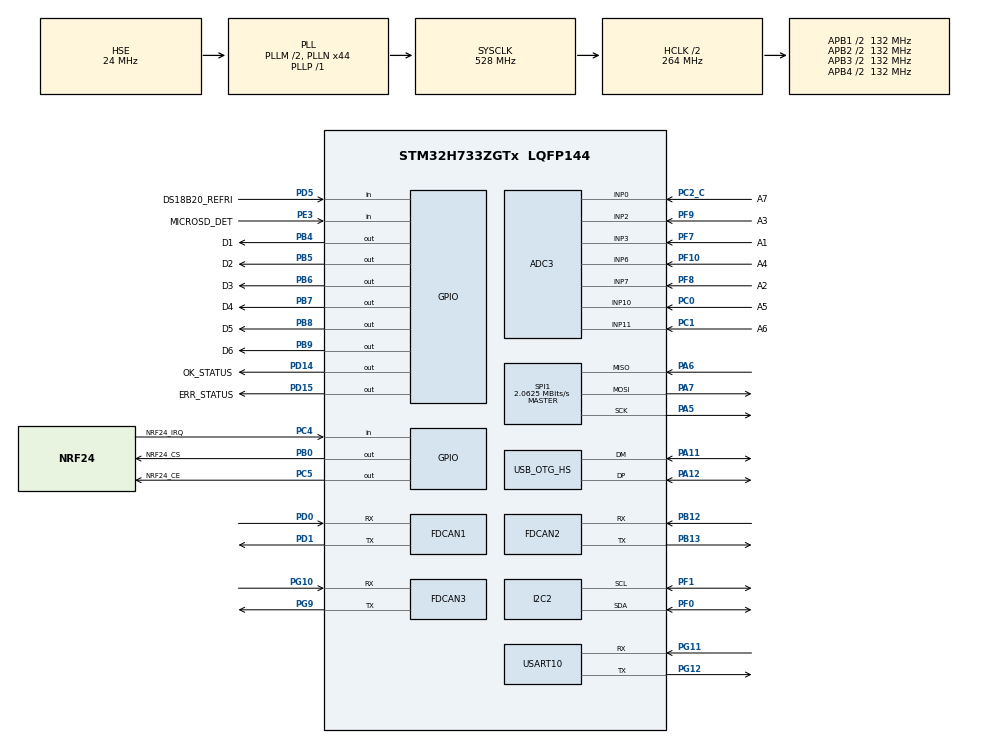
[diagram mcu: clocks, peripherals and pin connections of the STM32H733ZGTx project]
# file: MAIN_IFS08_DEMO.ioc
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ADC3.Channel-0\#ChannelRegularConversion=ADC_CHANNEL_3
ADC3.NbrOfConversionFlag=1
ADC3.OffsetNumber-0\#ChannelRegularConversion=ADC_OFFSET_NONE
ADC3.OffsetSign-0\#ChannelRegularConversion=ADC3_OFFSET_SIGN_NEGATIVE
ADC3.Rank-0\#ChannelRegularConversion=1
ADC3.SamplingTime-0\#ChannelRegularConversion=ADC3_SAMPLETIME_2CYCLES_5
FDCAN1.AutoRetransmission=ENABLE
FDCAN1.CalculateBaudRateNominal=500000
FDCAN1.CalculateTimeBitNominal=2000
FDCAN1.CalculateTimeQuantumNominal=250.0
FDCAN1.ExtFiltersNbr=1
FDCAN1.NominalPrescaler=6
FDCAN1.NominalTimeSeg1=2
FDCAN1.NominalTimeSeg2=5
FDCAN1.RxBuffersNbr=0
FDCAN1.RxFifo0ElmtsNbr=32
FDCAN1.RxFifo1ElmtsNbr=32
FDCAN1.StdFiltersNbr=1
FDCAN1.TxBuffersNbr=0
FDCAN1.TxEventsNbr=0
FDCAN1.TxFifoQueueElmtsNbr=32
FDCAN2.CalculateBaudRateNominal=500000
FDCAN2.CalculateTimeBitNominal=2000
FDCAN2.CalculateTimeQuantumNominal=250.0
FDCAN2.ExtFiltersNbr=1
FDCAN2.FrameFormat=FDCAN_FRAME_CLASSIC
FDCAN2.NominalPrescaler=6
FDCAN2.NominalTimeSeg1=2
FDCAN2.NominalTimeSeg2=5
FDCAN2.RxBuffersNbr=0
FDCAN2.RxFifo0ElmtSize=FDCAN_DATA_BYTES_8
FDCAN2.RxFifo0ElmtsNbr=16
FDCAN2.RxFifo1ElmtsNbr=16
FDCAN2.StdFiltersNbr=2
FDCAN2.TxBuffersNbr=0
FDCAN2.TxEventsNbr=0
FDCAN2.TxFifoQueueElmtsNbr=32
FDCAN3.CalculateBaudRateNominal=500000
FDCAN3.CalculateTimeBitNominal=2000
FDCAN3.CalculateTimeQuantumNominal=250.0
FDCAN3.ExtFiltersNbr=1
FDCAN3.NominalPrescaler=6
FDCAN3.NominalTimeSeg1=2
FDCAN3.NominalTimeSeg2=5
FDCAN3.RxFifo0ElmtsNbr=16
FDCAN3.RxFifo1ElmtsNbr=16
FDCAN3.StdFiltersNbr=1
FDCAN3.TxFifoQueueElmtsNbr=32
I2C2.Timing=0x20A0B1FF
Mcu.Family=STM32H7
Mcu.Name=STM32H733ZGTx
Mcu.Package=LQFP144
NVIC.FDCAN1_IT0_IRQn=true\:1\:0\:true\:false\:true\:true\:true\:true
NVIC.FDCAN2_IT0_IRQn=true\:2\:0\:true\:false\:true\:true\:true\:true
NVIC.FDCAN3_IT0_IRQn=true\:0\:0\:false\:false\:true\:true\:true\:true
NVIC.PriorityGroup=NVIC_PRIORITYGROUP_4
NVIC.SPI1_IRQn=true\:0\:0\:false\:false\:true\:true\:true\:true
NVIC.TIM16_IRQn=true\:0\:0\:false\:false\:true\:true\:true\:true
NVIC.USART10_IRQn=true\:0\:0\:false\:false\:true\:true\:true\:true
PA11.Mode=Device_Only_FS
PA11.Signal=USB_OTG_HS_DM
PA12.Mode=Device_Only_FS
PA12.Signal=USB_OTG_HS_DP
PA13(JTMS/SWDIO).Mode=Serial_Wire
PA13(JTMS/SWDIO).Signal=DEBUG_JTMS-SWDIO
PA14(JTCK/SWCLK).Mode=Serial_Wire
PA14(JTCK/SWCLK).Signal=DEBUG_JTCK-SWCLK
PA5.Mode=Full_Duplex_Master
PA5.Signal=SPI1_SCK
PA6.Mode=Full_Duplex_Master
PA6.Signal=SPI1_MISO
PA7.Mode=Full_Duplex_Master
PA7.Signal=SPI1_MOSI
PB0.GPIO_Label=NRF24_CS
PB0.Signal=GPIO_Output
PB12.Mode=FDCAN_Activate
PB12.Signal=FDCAN2_RX
PB13.Mode=FDCAN_Activate
PB13.Signal=FDCAN2_TX
PB4(NJTRST).GPIO_Label=D1
PB4(NJTRST).Signal=GPIO_Output
PB5.GPIO_Label=D2
PB5.Signal=GPIO_Output
PB6.GPIO_Label=D3
PB6.Signal=GPIO_Output
PB7.GPIO_Label=D4
PB7.Signal=GPIO_Output
PB8.GPIO_Label=D5
PB8.Signal=GPIO_Output
PB9.GPIO_Label=D6
PB9.Signal=GPIO_Output
PC0.GPIO_Label=A5
PC0.Signal=ADCx_INP10
PC1.GPIO_Label=A6
PC1.Signal=ADCx_INP11
PC10.Signal=SDMMC1_D2
PC11.Signal=SDMMC1_D3
PC12.Signal=SDMMC1_CK
PC2_C.GPIO_Label=A7
PC2_C.Mode=IN0-Single-Ended
PC2_C.Signal=ADC3_INP0
PC4.GPIO_Label=NRF24_IRQ
PC4.Signal=GPIO_Input
PC5.GPIO_Label=NRF24_CE
PC5.Signal=GPIO_Output
PC8.Signal=SDMMC1_D0
PC9.Signal=SDMMC1_D1
PD0.Mode=FDCAN_Activate
PD0.Signal=FDCAN1_RX
PD1.Mode=FDCAN_Activate
PD1.Signal=FDCAN1_TX
PD14.GPIO_Label=OK_STATUS
PD14.Signal=GPIO_Output
PD15.GPIO_Label=ERR_STATUS
PD15.Signal=GPIO_Output
PD2.Signal=SDMMC1_CMD
PD5.GPIO_Label=DS18B20_REFRI
PD5.Signal=GPIO_Input
PE3.GPIO_Label=MICROSD_DET
PE3.Signal=GPIO_Input
PF0.Mode=I2C
PF0.Signal=I2C2_SDA
PF1.Mode=I2C
PF1.Signal=I2C2_SCL
PF10.GPIO_Label=A4
PF10.Mode=IN6-Single-Ended
PF10.Signal=ADC3_INP6
PF7.GPIO_Label=A1
PF7.Mode=IN3-Single-Ended
PF7.Signal=ADC3_INP3
PF8.GPIO_Label=A2
PF8.Signal=SharedAnalog_PF8
PF9.GPIO_Label=A3
PF9.Mode=IN2-Single-Ended
PF9.Signal=ADC3_INP2
PG10.Mode=FDCAN_Activate
PG10.Signal=FDCAN3_RX
PG11.Mode=Asynchronous
PG11.Signal=USART10_RX
PG12.Mode=Asynchronous
PG12.Signal=USART10_TX
PG9.Mode=FDCAN_Activate
PG9.Signal=FDCAN3_TX
PH0-OSC_IN.Mode=HSE-External-Oscillator
PH0-OSC_IN.Signal=RCC_OSC_IN
PH1-OSC_OUT.Mode=HSE-External-Oscillator
PH1-OSC_OUT.Signal=RCC_OSC_OUT
ProjectManager.HeapSize=0x200
ProjectManager.StackSize=0x400
ProjectManager.TargetToolchain=CMake
RCC.ADCCLockSelection=RCC_ADCCLKSOURCE_PLL2
RCC.ADCFreq_Value=96000000
RCC.APB1Freq_Value=132000000
RCC.APB2Freq_Value=132000000
RCC.APB3Freq_Value=132000000
RCC.APB4Freq_Value=132000000
RCC.CECCLockSelection=RCC_CECCLKSOURCE_LSI
RCC.CKPERSourceSelection=RCC_CLKPSOURCE_HSI
RCC.CSI_VALUE=4000000
RCC.CortexFreq_Value=528000000
RCC.Cortex_DivARG=SystemCoreClock/1000
RCC.D1PPRE=RCC_APB3_DIV2
RCC.D2PPRE1=RCC_APB1_DIV2
RCC.D2PPRE2=RCC_APB2_DIV2
RCC.D3PPRE=RCC_APB4_DIV2
RCC.DFSDMCLockSelection=RCC_DFSDM1CLKSOURCE_D2PCLK1
RCC.DIVM1=2
RCC.DIVM2=2
RCC.DIVN1=44
RCC.DIVN2=16
RCC.DIVP1=1
RCC.DIVQ1=4
RCC.DIVR2=1
RCC.EXTERNAL_CLOCK_VALUE=12288000
RCC.FDCANCLockSelection=RCC_FDCANCLKSOURCE_HSE
RCC.FMCCLockSelection=RCC_FMCCLKSOURCE_D1HCLK
RCC.HCLKFreq_Value=264000000
RCC.HPRE=RCC_HCLK_DIV2
RCC.HSE_VALUE=24000000
RCC.HSI48_VALUE=48000000
RCC.HSI_VALUE=64000000
RCC.I2C123CLockSelection=RCC_I2C1235CLKSOURCE_D2PCLK1
RCC.I2C4CLockSelection=RCC_I2C4CLKSOURCE_D3PCLK1
RCC.LPTIM1CLockSelection=RCC_LPTIM1CLKSOURCE_D2PCLK1
RCC.LPTIM2CLockSelection=RCC_LPTIM2CLKSOURCE_D3PCLK1
RCC.LPTIM345CLockSelection=RCC_LPTIM345CLKSOURCE_D3PCLK1
RCC.LPUART1CLockSelection=RCC_LPUART1CLKSOURCE_D3PCLK1
RCC.LSE_VALUE=32768
RCC.PLL2FRACN=0
RCC.PLL3FRACN=0
RCC.PLLFRACN=0
RCC.PLLSourceVirtual=RCC_PLLSOURCE_HSE
RCC.QSPICLockSelection=RCC_OSPICLKSOURCE_D1HCLK
RCC.RCC_MCO1Source=RCC_MCO1SOURCE_HSI
RCC.RCC_MCO2Source=RCC_MCO2SOURCE_SYSCLK
RCC.RNGCLockSelection=RCC_RNGCLKSOURCE_HSI48
RCC.SAI1CLockSelection=RCC_SAI1CLKSOURCE_PLL
RCC.SAI4ACLockSelection=RCC_SAI4ACLKSOURCE_PLL
RCC.SAI4BCLockSelection=RCC_SAI4BCLKSOURCE_PLL
RCC.SDMMC1CLockSelection=RCC_SDMMCCLKSOURCE_PLL2
RCC.SPDIFCLockSelection=RCC_SPDIFRXCLKSOURCE_PLL
RCC.SPI123CLockSelection=RCC_SPI123CLKSOURCE_PLL
RCC.SPI6CLockSelection=RCC_SPI6CLKSOURCE_D3PCLK1
RCC.SWPCLockSelection=RCC_SWPMI1CLKSOURCE_D2PCLK1
RCC.SYSCLKFreq_VALUE=528000000
RCC.SYSCLKSource=RCC_SYSCLKSOURCE_PLLCLK
RCC.Spi45ClockSelection=RCC_SPI45CLKSOURCE_D2PCLK1
RCC.USART16CLockSelection=RCC_USART16910CLKSOURCE_D2PCLK2
RCC.USART234578CLockSelection=RCC_USART234578CLKSOURCE_D2PCLK1
RCC.USBCLockSelection=RCC_USBCLKSOURCE_HSI48
RCC.USBFreq_Value=48000000
SH.ADCx_INP10.0=ADC3_INP10,IN10-Single-Ended
SH.ADCx_INP11.0=ADC3_INP11,IN11-Single-Ended
SH.SharedAnalog_PF8.0=ADC3_INN3
SH.SharedAnalog_PF8.1=ADC3_INP7,IN7-Single-Ended
SPI1.BaudRatePrescaler=SPI_BAUDRATEPRESCALER_64
SPI1.CalculateBaudRate=2.0625 MBits/s
SPI1.DataSize=SPI_DATASIZE_8BIT
SPI1.Direction=SPI_DIRECTION_2LINES
SPI1.Mode=SPI_MODE_MASTER
SPI1.NSSPMode=SPI_NSS_PULSE_DISABLE
SPI1.VirtualType=VM_MASTER
TIM1.AutoReloadPreload=TIM_AUTORELOAD_PRELOAD_ENABLE
TIM16.Period=10000 - 1
TIM16.Prescaler=528
USART10.VirtualMode-Asynchronous=VM_ASYNC
USB_OTG_HS.VirtualMode-Device_Only_FS=Device_Only_FS
VP_MEMORYMAP_VS_MEMORYMAP.Mode=CurAppReg
VP_TIM16_VS_ClockSourceINT.Mode=Enable_Timer
VP_TIM1_VS_ClockSourceINT.Mode=Internal
board=custom

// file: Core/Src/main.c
/* USER CODE BEGIN Header */
/**
 ******************************************************************************
 * @file           : main.c
 * @brief          : Main program body
 ******************************************************************************
 * @attention
 *
 * Copyright (c) 2025 STMicroelectronics.
 * All rights reserved.
 *
 * This software is licensed under terms that can be found in the LICENSE file
 * in the root directory of this software component.
 * If no LICENSE file comes with this software, it is provided AS-IS.
 *
 ******************************************************************************
 */
/* USER CODE END Header */
#include "main.h"

/* USER CODE BEGIN Includes */
#include "stm32h7xx_hal.h"
#include "stm32h7xx_hal_rcc_ex.h"
#include "stm32h7xx_hal_pwr_ex.h"

/* USER CODE END Includes */

/* USER CODE BEGIN PD */

/* Board identity — hardcoded here for the demo; real products read
 * from NVM / provisioning. Low nibble of every frame ID addressed
 * to us or from us. Valid range 0x1..=0xE (0x0 = host, 0xF =
 * broadcast). */
#define APP_NODE_ID               0x01U

#define BOOT_REQ_MAGIC            0xB00710ADU  /* Same value as in bootloader */

/* Protocol IDs — matches fix/12 wire format in can-flasher's
 * protocol/ids.rs and the bootloader's bl_proto.h.
 *
 *   bit  4    = direction (0 = host→node, 1 = node→host)
 *   bits 3..0 = other-end node ID
 *
 * Host→this node: 0x0<APP_NODE_ID>.  Broadcast: 0x00F.
 * This node→host:  0x1<APP_NODE_ID>.                                   */
#define APP_FRAME_ID_RX_UNICAST   (0x00U | APP_NODE_ID)
#define APP_FRAME_ID_RX_BROADCAST (0x00FU)
#define APP_FRAME_ID_TX_REPLY     (0x010U | APP_NODE_ID)
#define APP_PROTO_ID_MASK         (0x01FU)

/* Message-type byte — sits in payload[1], right after the ISO-TP
 * PCI byte, on every SF/FF. Mirrors MessageType in the flasher. */
#define APP_MSG_CMD               0x00U
#define APP_MSG_ACK               0x01U
#define APP_MSG_NACK              0x02U
#define APP_MSG_APP_CTRL          0x06U

#define APP_CMD_ENTER_BOOTLOADER  0x01U

/* USER CODE END PD */

ADC_HandleTypeDef hadc3;

FDCAN_HandleTypeDef hfdcan1;
FDCAN_HandleTypeDef hfdcan2;
FDCAN_HandleTypeDef hfdcan3;

I2C_HandleTypeDef hi2c2;

SPI_HandleTypeDef hspi1;

TIM_HandleTypeDef htim1;
TIM_HandleTypeDef htim16;

UART_HandleTypeDef huart10;

PCD_HandleTypeDef hpcd_USB_OTG_HS;

void SystemClock_Config(void);
static void MX_GPIO_Init(void);
static void MX_FDCAN1_Init(void);
static void MX_FDCAN2_Init(void);
static void MX_TIM1_Init(void);
static void MX_TIM16_Init(void);
static void MX_FDCAN3_Init(void);
static void MX_ADC3_Init(void);
static void MX_USART10_UART_Init(void);
static void MX_SPI1_Init(void);
static void MX_I2C2_Init(void);
static void MX_USB_OTG_HS_PCD_Init(void);
/* USER CODE BEGIN PFP */

void RequestBootloaderAndReset(void);
static void APP_SendCtrlAck(uint8_t cmd, uint8_t status);
static void APP_HandleCanFrame(FDCAN_RxHeaderTypeDef *rxHeader, uint8_t *rxData);

/* USER CODE END PFP */

int main(void)
{

  /* MCU Configuration--------------------------------------------------------*/

  /* Reset of all peripherals, Initializes the Flash interface and the Systick. */
  HAL_Init();

  /* Configure the system clock */
  SystemClock_Config();

  /* Initialize all configured peripherals */
  MX_GPIO_Init();
  MX_FDCAN1_Init();
  MX_FDCAN2_Init();
  MX_TIM1_Init();
  MX_TIM16_Init();
  MX_FDCAN3_Init();
  MX_ADC3_Init();
  MX_USART10_UART_Init();
  MX_SPI1_Init();
  MX_I2C2_Init();
  MX_USB_OTG_HS_PCD_Init();
  /* USER CODE BEGIN 2 */

	/* FDCAN2 filter configuration. CubeMX reserves the slots
	 * (`StdFiltersNbr = 2` in MX_FDCAN2_Init) but never installs a
	 * concrete filter — that's hand-written here so the configuration
	 * lives in one place. We mask on bits 4:0 of the 11-bit ID (the
	 * protocol's `direction | node` field) so the FDCAN peripheral
	 * drops any frame not addressed to us or the broadcast address,
	 * zero CPU cost for off-bus traffic. */
	{
		FDCAN_FilterTypeDef filter = { 0 };
		filter.IdType       = FDCAN_STANDARD_ID;
		filter.FilterType   = FDCAN_FILTER_MASK;
		filter.FilterConfig = FDCAN_FILTER_TO_RXFIFO0;
		filter.FilterID2    = APP_PROTO_ID_MASK;

		/* Slot 0: host→this node (unicast). */
		filter.FilterIndex = 0U;
		filter.FilterID1   = APP_FRAME_ID_RX_UNICAST;
		if (HAL_FDCAN_ConfigFilter(&hfdcan2, &filter) != HAL_OK) {
			Error_Handler();
		}

		/* Slot 1: host→broadcast. */
		filter.FilterIndex = 1U;
		filter.FilterID1   = APP_FRAME_ID_RX_BROADCAST;
		if (HAL_FDCAN_ConfigFilter(&hfdcan2, &filter) != HAL_OK) {
			Error_Handler();
		}

		/* Reject frames that don't match any filter — keeps replies
		 * from other nodes and our own TX echoes out of the FIFO. */
		if (HAL_FDCAN_ConfigGlobalFilter(&hfdcan2,
				FDCAN_REJECT,
				FDCAN_REJECT,
				FDCAN_FILTER_REMOTE,
				FDCAN_FILTER_REMOTE) != HAL_OK) {
			Error_Handler();
		}
	}

	if (HAL_FDCAN_Start(&hfdcan2) != HAL_OK) {
		Error_Handler();
	}

  /* USER CODE END 2 */

  /* Infinite loop */
  /* USER CODE BEGIN WHILE */
	while (1) {

		FDCAN_RxHeaderTypeDef rxHeader;
		uint8_t rxData[8];

		/* Poll RX FIFO0 just like in the bootloader */
		if (HAL_FDCAN_GetRxFifoFillLevel(&hfdcan2, FDCAN_RX_FIFO0) > 0) {
			if (HAL_FDCAN_GetRxMessage(&hfdcan2,
			FDCAN_RX_FIFO0, &rxHeader, rxData) == HAL_OK) {
				APP_HandleCanFrame(&rxHeader, rxData);
			}
		}

		HAL_GPIO_TogglePin(OK_STATUS_GPIO_Port, OK_STATUS_Pin);

		HAL_Delay(200);

    /* USER CODE END WHILE */

	}
}

void SystemClock_Config(void)
{
  RCC_OscInitTypeDef RCC_OscInitStruct = {0};
  RCC_ClkInitTypeDef RCC_ClkInitStruct = {0};

  /** Supply configuration update enable
  */
  HAL_PWREx_ConfigSupply(PWR_LDO_SUPPLY);

  /** Configure the main internal regulator output voltage
  */
  __HAL_PWR_VOLTAGESCALING_CONFIG(PWR_REGULATOR_VOLTAGE_SCALE0);

  while(!__HAL_PWR_GET_FLAG(PWR_FLAG_VOSRDY)) {}

  /** Initializes the RCC Oscillators according to the specified parameters
  * in the RCC_OscInitTypeDef structure.
  */
  RCC_OscInitStruct.OscillatorType = RCC_OSCILLATORTYPE_HSI48|RCC_OSCILLATORTYPE_HSE;
  RCC_OscInitStruct.HSEState = RCC_HSE_ON;
  RCC_OscInitStruct.HSI48State = RCC_HSI48_ON;
  RCC_OscInitStruct.PLL.PLLState = RCC_PLL_ON;
  RCC_OscInitStruct.PLL.PLLSource = RCC_PLLSOURCE_HSE;
  RCC_OscInitStruct.PLL.PLLM = 2;
  RCC_OscInitStruct.PLL.PLLN = 44;
  RCC_OscInitStruct.PLL.PLLP = 1;
  RCC_OscInitStruct.PLL.PLLQ = 4;
  RCC_OscInitStruct.PLL.PLLR = 2;
  RCC_OscInitStruct.PLL.PLLRGE = RCC_PLL1VCIRANGE_3;
  RCC_OscInitStruct.PLL.PLLVCOSEL = RCC_PLL1VCOWIDE;
  RCC_OscInitStruct.PLL.PLLFRACN = 0;
  if (HAL_RCC_OscConfig(&RCC_OscInitStruct) != HAL_OK)
  {
    Error_Handler();
  }

  /** Initializes the CPU, AHB and APB buses clocks
  */
  RCC_ClkInitStruct.ClockType = RCC_CLOCKTYPE_HCLK|RCC_CLOCKTYPE_SYSCLK
                              |RCC_CLOCKTYPE_PCLK1|RCC_CLOCKTYPE_PCLK2
                              |RCC_CLOCKTYPE_D3PCLK1|RCC_CLOCKTYPE_D1PCLK1;
  RCC_ClkInitStruct.SYSCLKSource = RCC_SYSCLKSOURCE_PLLCLK;
  RCC_ClkInitStruct.SYSCLKDivider = RCC_SYSCLK_DIV1;
  RCC_ClkInitStruct.AHBCLKDivider = RCC_HCLK_DIV2;
  RCC_ClkInitStruct.APB3CLKDivider = RCC_APB3_DIV2;
  RCC_ClkInitStruct.APB1CLKDivider = RCC_APB1_DIV2;
  RCC_ClkInitStruct.APB2CLKDivider = RCC_APB2_DIV2;
  RCC_ClkInitStruct.APB4CLKDivider = RCC_APB4_DIV2;

  if (HAL_RCC_ClockConfig(&RCC_ClkInitStruct, FLASH_LATENCY_3) != HAL_OK)
  {
    Error_Handler();
  }
}

static void MX_ADC3_Init(void)
{

  ADC_ChannelConfTypeDef sConfig = {0};

  /** Common config
  */
  hadc3.Instance = ADC3;
  hadc3.Init.ClockPrescaler = ADC_CLOCK_ASYNC_DIV1;
  hadc3.Init.Resolution = ADC_RESOLUTION_12B;
  hadc3.Init.DataAlign = ADC3_DATAALIGN_RIGHT;
  hadc3.Init.ScanConvMode = ADC_SCAN_DISABLE;
  hadc3.Init.EOCSelection = ADC_EOC_SINGLE_CONV;
  hadc3.Init.LowPowerAutoWait = DISABLE;
  hadc3.Init.ContinuousConvMode = DISABLE;
  hadc3.Init.NbrOfConversion = 1;
  hadc3.Init.DiscontinuousConvMode = DISABLE;
  hadc3.Init.ExternalTrigConv = ADC_SOFTWARE_START;
  hadc3.Init.ExternalTrigConvEdge = ADC_EXTERNALTRIGCONVEDGE_NONE;
  hadc3.Init.DMAContinuousRequests = DISABLE;
  hadc3.Init.SamplingMode = ADC_SAMPLING_MODE_NORMAL;
  hadc3.Init.ConversionDataManagement = ADC_CONVERSIONDATA_DR;
  hadc3.Init.Overrun = ADC_OVR_DATA_PRESERVED;
  hadc3.Init.LeftBitShift = ADC_LEFTBITSHIFT_NONE;
  hadc3.Init.OversamplingMode = DISABLE;
  hadc3.Init.Oversampling.Ratio = ADC3_OVERSAMPLING_RATIO_2;
  if (HAL_ADC_Init(&hadc3) != HAL_OK)
  {
    Error_Handler();
  }

  /** Configure Regular Channel
  */
  sConfig.Channel = ADC_CHANNEL_3;
  sConfig.Rank = ADC_REGULAR_RANK_1;
  sConfig.SamplingTime = ADC3_SAMPLETIME_2CYCLES_5;
  sConfig.SingleDiff = ADC_SINGLE_ENDED;
  sConfig.OffsetNumber = ADC_OFFSET_NONE;
  sConfig.Offset = 0;
  sConfig.OffsetSign = ADC3_OFFSET_SIGN_NEGATIVE;
  if (HAL_ADC_ConfigChannel(&hadc3, &sConfig) != HAL_OK)
  {
    Error_Handler();
  }

}

static void MX_FDCAN1_Init(void)
{

  hfdcan1.Instance = FDCAN1;
  hfdcan1.Init.FrameFormat = FDCAN_FRAME_CLASSIC;
  hfdcan1.Init.Mode = FDCAN_MODE_NORMAL;
  hfdcan1.Init.AutoRetransmission = ENABLE;
  hfdcan1.Init.TransmitPause = DISABLE;
  hfdcan1.Init.ProtocolException = DISABLE;
  hfdcan1.Init.NominalPrescaler = 6;
  hfdcan1.Init.NominalSyncJumpWidth = 1;
  hfdcan1.Init.NominalTimeSeg1 = 2;
  hfdcan1.Init.NominalTimeSeg2 = 5;
  hfdcan1.Init.DataPrescaler = 1;
  hfdcan1.Init.DataSyncJumpWidth = 1;
  hfdcan1.Init.DataTimeSeg1 = 1;
  hfdcan1.Init.DataTimeSeg2 = 1;
  hfdcan1.Init.MessageRAMOffset = 0;
  hfdcan1.Init.StdFiltersNbr = 1;
  hfdcan1.Init.ExtFiltersNbr = 1;
  hfdcan1.Init.RxFifo0ElmtsNbr = 32;
  hfdcan1.Init.RxFifo0ElmtSize = FDCAN_DATA_BYTES_8;
  hfdcan1.Init.RxFifo1ElmtsNbr = 32;
  hfdcan1.Init.RxFifo1ElmtSize = FDCAN_DATA_BYTES_8;
  hfdcan1.Init.RxBuffersNbr = 0;
  hfdcan1.Init.RxBufferSize = FDCAN_DATA_BYTES_8;
  hfdcan1.Init.TxEventsNbr = 0;
  hfdcan1.Init.TxBuffersNbr = 0;
  hfdcan1.Init.TxFifoQueueElmtsNbr = 32;
  hfdcan1.Init.TxFifoQueueMode = FDCAN_TX_FIFO_OPERATION;
  hfdcan1.Init.TxElmtSize = FDCAN_DATA_BYTES_8;
  if (HAL_FDCAN_Init(&hfdcan1) != HAL_OK)
  {
    Error_Handler();
  }

}

static void MX_FDCAN2_Init(void)
{

  hfdcan2.Instance = FDCAN2;
  hfdcan2.Init.FrameFormat = FDCAN_FRAME_CLASSIC;
  hfdcan2.Init.Mode = FDCAN_MODE_NORMAL;
  hfdcan2.Init.AutoRetransmission = DISABLE;
  hfdcan2.Init.TransmitPause = DISABLE;
  hfdcan2.Init.ProtocolException = DISABLE;
  hfdcan2.Init.NominalPrescaler = 6;
  hfdcan2.Init.NominalSyncJumpWidth = 1;
  hfdcan2.Init.NominalTimeSeg1 = 2;
  hfdcan2.Init.NominalTimeSeg2 = 5;
  hfdcan2.Init.DataPrescaler = 1;
  hfdcan2.Init.DataSyncJumpWidth = 1;
  hfdcan2.Init.DataTimeSeg1 = 1;
  hfdcan2.Init.DataTimeSeg2 = 1;
  hfdcan2.Init.MessageRAMOffset = 0;
  hfdcan2.Init.StdFiltersNbr = 2;
  hfdcan2.Init.ExtFiltersNbr = 1;
  hfdcan2.Init.RxFifo0ElmtsNbr = 16;
  hfdcan2.Init.RxFifo0ElmtSize = FDCAN_DATA_BYTES_8;
  hfdcan2.Init.RxFifo1ElmtsNbr = 16;
  hfdcan2.Init.RxFifo1ElmtSize = FDCAN_DATA_BYTES_8;
  hfdcan2.Init.RxBuffersNbr = 0;
  hfdcan2.Init.RxBufferSize = FDCAN_DATA_BYTES_8;
  hfdcan2.Init.TxEventsNbr = 0;
  hfdcan2.Init.TxBuffersNbr = 0;
  hfdcan2.Init.TxFifoQueueElmtsNbr = 32;
  hfdcan2.Init.TxFifoQueueMode = FDCAN_TX_FIFO_OPERATION;
  hfdcan2.Init.TxElmtSize = FDCAN_DATA_BYTES_8;
  if (HAL_FDCAN_Init(&hfdcan2) != HAL_OK)
  {
    Error_Handler();
  }

}

static void MX_FDCAN3_Init(void)
{

  hfdcan3.Instance = FDCAN3;
  hfdcan3.Init.FrameFormat = FDCAN_FRAME_CLASSIC;
  hfdcan3.Init.Mode = FDCAN_MODE_NORMAL;
  hfdcan3.Init.AutoRetransmission = DISABLE;
  hfdcan3.Init.TransmitPause = DISABLE;
  hfdcan3.Init.ProtocolException = DISABLE;
  hfdcan3.Init.NominalPrescaler = 6;
  hfdcan3.Init.NominalSyncJumpWidth = 1;
  hfdcan3.Init.NominalTimeSeg1 = 2;
  hfdcan3.Init.NominalTimeSeg2 = 5;
  hfdcan3.Init.DataPrescaler = 1;
  hfdcan3.Init.DataSyncJumpWidth = 1;
  hfdcan3.Init.DataTimeSeg1 = 1;
  hfdcan3.Init.DataTimeSeg2 = 1;
  hfdcan3.Init.MessageRAMOffset = 0;
  hfdcan3.Init.StdFiltersNbr = 1;
  hfdcan3.Init.ExtFiltersNbr = 1;
  hfdcan3.Init.RxFifo0ElmtsNbr = 16;
  hfdcan3.Init.RxFifo0ElmtSize = FDCAN_DATA_BYTES_8;
  hfdcan3.Init.RxFifo1ElmtsNbr = 16;
  hfdcan3.Init.RxFifo1ElmtSize = FDCAN_DATA_BYTES_8;
  hfdcan3.Init.RxBuffersNbr = 0;
  hfdcan3.Init.RxBufferSize = FDCAN_DATA_BYTES_8;
  hfdcan3.Init.TxEventsNbr = 0;
  hfdcan3.Init.TxBuffersNbr = 0;
  hfdcan3.Init.TxFifoQueueElmtsNbr = 32;
  hfdcan3.Init.TxFifoQueueMode = FDCAN_TX_FIFO_OPERATION;
  hfdcan3.Init.TxElmtSize = FDCAN_DATA_BYTES_8;
  if (HAL_FDCAN_Init(&hfdcan3) != HAL_OK)
  {
    Error_Handler();
  }

}

static void MX_I2C2_Init(void)
{

  hi2c2.Instance = I2C2;
  hi2c2.Init.Timing = 0x20A0B1FF;
  hi2c2.Init.OwnAddress1 = 0;
  hi2c2.Init.AddressingMode = I2C_ADDRESSINGMODE_7BIT;
  hi2c2.Init.DualAddressMode = I2C_DUALADDRESS_DISABLE;
  hi2c2.Init.OwnAddress2 = 0;
  hi2c2.Init.OwnAddress2Masks = I2C_OA2_NOMASK;
  hi2c2.Init.GeneralCallMode = I2C_GENERALCALL_DISABLE;
  hi2c2.Init.NoStretchMode = I2C_NOSTRETCH_DISABLE;
  if (HAL_I2C_Init(&hi2c2) != HAL_OK)
  {
    Error_Handler();
  }

  /** Configure Analogue filter
  */
  if (HAL_I2CEx_ConfigAnalogFilter(&hi2c2, I2C_ANALOGFILTER_ENABLE) != HAL_OK)
  {
    Error_Handler();
  }

  /** Configure Digital filter
  */
  if (HAL_I2CEx_ConfigDigitalFilter(&hi2c2, 0) != HAL_OK)
  {
    Error_Handler();
  }

}

static void MX_SPI1_Init(void)
{

  /* SPI1 parameter configuration*/
  hspi1.Instance = SPI1;
  hspi1.Init.Mode = SPI_MODE_MASTER;
  hspi1.Init.Direction = SPI_DIRECTION_2LINES;
  hspi1.Init.DataSize = SPI_DATASIZE_8BIT;
  hspi1.Init.CLKPolarity = SPI_POLARITY_LOW;
  hspi1.Init.CLKPhase = SPI_PHASE_1EDGE;
  hspi1.Init.NSS = SPI_NSS_SOFT;
  hspi1.Init.BaudRatePrescaler = SPI_BAUDRATEPRESCALER_64;
  hspi1.Init.FirstBit = SPI_FIRSTBIT_MSB;
  hspi1.Init.TIMode = SPI_TIMODE_DISABLE;
  hspi1.Init.CRCCalculation = SPI_CRCCALCULATION_DISABLE;
  hspi1.Init.CRCPolynomial = 0x0;
  hspi1.Init.NSSPMode = SPI_NSS_PULSE_DISABLE;
  hspi1.Init.NSSPolarity = SPI_NSS_POLARITY_LOW;
  hspi1.Init.FifoThreshold = SPI_FIFO_THRESHOLD_01DATA;
  hspi1.Init.TxCRCInitializationPattern = SPI_CRC_INITIALIZATION_ALL_ZERO_PATTERN;
  hspi1.Init.RxCRCInitializationPattern = SPI_CRC_INITIALIZATION_ALL_ZERO_PATTERN;
  hspi1.Init.MasterSSIdleness = SPI_MASTER_SS_IDLENESS_00CYCLE;
  hspi1.Init.MasterInterDataIdleness = SPI_MASTER_INTERDATA_IDLENESS_00CYCLE;
  hspi1.Init.MasterReceiverAutoSusp = SPI_MASTER_RX_AUTOSUSP_DISABLE;
  hspi1.Init.MasterKeepIOState = SPI_MASTER_KEEP_IO_STATE_DISABLE;
  hspi1.Init.IOSwap = SPI_IO_SWAP_DISABLE;
  if (HAL_SPI_Init(&hspi1) != HAL_OK)
  {
    Error_Handler();
  }

}

static void MX_TIM1_Init(void)
{

  TIM_ClockConfigTypeDef sClockSourceConfig = {0};
  TIM_MasterConfigTypeDef sMasterConfig = {0};

  htim1.Instance = TIM1;
  htim1.Init.Prescaler = 0;
  htim1.Init.CounterMode = TIM_COUNTERMODE_UP;
  htim1.Init.Period = 65535;
  htim1.Init.ClockDivision = TIM_CLOCKDIVISION_DIV1;
  htim1.Init.RepetitionCounter = 0;
  htim1.Init.AutoReloadPreload = TIM_AUTORELOAD_PRELOAD_ENABLE;
  if (HAL_TIM_Base_Init(&htim1) != HAL_OK)
  {
    Error_Handler();
  }
  sClockSourceConfig.ClockSource = TIM_CLOCKSOURCE_INTERNAL;
  if (HAL_TIM_ConfigClockSource(&htim1, &sClockSourceConfig) != HAL_OK)
  {
    Error_Handler();
  }
  sMasterConfig.MasterOutputTrigger = TIM_TRGO_RESET;
  sMasterConfig.MasterOutputTrigger2 = TIM_TRGO2_RESET;
  sMasterConfig.MasterSlaveMode = TIM_MASTERSLAVEMODE_DISABLE;
  if (HAL_TIMEx_MasterConfigSynchronization(&htim1, &sMasterConfig) != HAL_OK)
  {
    Error_Handler();
  }

}

static void MX_TIM16_Init(void)
{

  htim16.Instance = TIM16;
  htim16.Init.Prescaler = 528;
  htim16.Init.CounterMode = TIM_COUNTERMODE_UP;
  htim16.Init.Period = 10000 - 1;
  htim16.Init.ClockDivision = TIM_CLOCKDIVISION_DIV1;
  htim16.Init.RepetitionCounter = 0;
  htim16.Init.AutoReloadPreload = TIM_AUTORELOAD_PRELOAD_DISABLE;
  if (HAL_TIM_Base_Init(&htim16) != HAL_OK)
  {
    Error_Handler();
  }

}

static void MX_USART10_UART_Init(void)
{

  huart10.Instance = USART10;
  huart10.Init.BaudRate = 115200;
  huart10.Init.WordLength = UART_WORDLENGTH_8B;
  huart10.Init.StopBits = UART_STOPBITS_1;
  huart10.Init.Parity = UART_PARITY_NONE;
  huart10.Init.Mode = UART_MODE_TX_RX;
  huart10.Init.HwFlowCtl = UART_HWCONTROL_NONE;
  huart10.Init.OverSampling = UART_OVERSAMPLING_16;
  huart10.Init.OneBitSampling = UART_ONE_BIT_SAMPLE_DISABLE;
  huart10.Init.ClockPrescaler = UART_PRESCALER_DIV1;
  huart10.AdvancedInit.AdvFeatureInit = UART_ADVFEATURE_NO_INIT;
  if (HAL_UART_Init(&huart10) != HAL_OK)
  {
    Error_Handler();
  }
  if (HAL_UARTEx_SetTxFifoThreshold(&huart10, UART_TXFIFO_THRESHOLD_1_8) != HAL_OK)
  {
    Error_Handler();
  }
  if (HAL_UARTEx_SetRxFifoThreshold(&huart10, UART_RXFIFO_THRESHOLD_1_8) != HAL_OK)
  {
    Error_Handler();
  }
  if (HAL_UARTEx_DisableFifoMode(&huart10) != HAL_OK)
  {
    Error_Handler();
  }

}

static void MX_USB_OTG_HS_PCD_Init(void)
{

  hpcd_USB_OTG_HS.Instance = USB_OTG_HS;
  hpcd_USB_OTG_HS.Init.dev_endpoints = 9;
  hpcd_USB_OTG_HS.Init.speed = PCD_SPEED_FULL;
  hpcd_USB_OTG_HS.Init.dma_enable = DISABLE;
  hpcd_USB_OTG_HS.Init.phy_itface = USB_OTG_EMBEDDED_PHY;
  hpcd_USB_OTG_HS.Init.Sof_enable = DISABLE;
  hpcd_USB_OTG_HS.Init.low_power_enable = DISABLE;
  hpcd_USB_OTG_HS.Init.lpm_enable = DISABLE;
  hpcd_USB_OTG_HS.Init.vbus_sensing_enable = DISABLE;
  hpcd_USB_OTG_HS.Init.use_dedicated_ep1 = DISABLE;
  hpcd_USB_OTG_HS.Init.use_external_vbus = DISABLE;
  if (HAL_PCD_Init(&hpcd_USB_OTG_HS) != HAL_OK)
  {
    Error_Handler();
  }

}

static void MX_GPIO_Init(void)
{
  GPIO_InitTypeDef GPIO_InitStruct = {0};

  /* GPIO Ports Clock Enable */
  __HAL_RCC_GPIOE_CLK_ENABLE();
  __HAL_RCC_GPIOF_CLK_ENABLE();
  __HAL_RCC_GPIOH_CLK_ENABLE();
  __HAL_RCC_GPIOC_CLK_ENABLE();
  __HAL_RCC_GPIOA_CLK_ENABLE();
  __HAL_RCC_GPIOB_CLK_ENABLE();
  __HAL_RCC_GPIOD_CLK_ENABLE();
  __HAL_RCC_GPIOG_CLK_ENABLE();

  /*Configure GPIO pin Output Level */
  HAL_GPIO_WritePin(NRF24_CE_GPIO_Port, NRF24_CE_Pin, GPIO_PIN_RESET);

  /*Configure GPIO pin Output Level */
  HAL_GPIO_WritePin(GPIOB, NRF24_CS_Pin|D1_Pin|D2_Pin|D3_Pin
                          |D4_Pin|D5_Pin|D6_Pin, GPIO_PIN_RESET);

  /*Configure GPIO pin Output Level */
  HAL_GPIO_WritePin(GPIOD, OK_STATUS_Pin|ERR_STATUS_Pin, GPIO_PIN_RESET);

  /*Configure GPIO pin : MICROSD_DET_Pin */
  GPIO_InitStruct.Pin = MICROSD_DET_Pin;
  GPIO_InitStruct.Mode = GPIO_MODE_INPUT;
  GPIO_InitStruct.Pull = GPIO_NOPULL;
  HAL_GPIO_Init(MICROSD_DET_GPIO_Port, &GPIO_InitStruct);

  /*Configure GPIO pin : NRF24_IRQ_Pin */
  GPIO_InitStruct.Pin = NRF24_IRQ_Pin;
  GPIO_InitStruct.Mode = GPIO_MODE_INPUT;
  GPIO_InitStruct.Pull = GPIO_NOPULL;
  HAL_GPIO_Init(NRF24_IRQ_GPIO_Port, &GPIO_InitStruct);

  /*Configure GPIO pin : NRF24_CE_Pin */
  GPIO_InitStruct.Pin = NRF24_CE_Pin;
  GPIO_InitStruct.Mode = GPIO_MODE_OUTPUT_PP;
  GPIO_InitStruct.Pull = GPIO_NOPULL;
  GPIO_InitStruct.Speed = GPIO_SPEED_FREQ_LOW;
  HAL_GPIO_Init(NRF24_CE_GPIO_Port, &GPIO_InitStruct);

  /*Configure GPIO pins : NRF24_CS_Pin D1_Pin D2_Pin D3_Pin
                           D4_Pin D5_Pin D6_Pin */
  GPIO_InitStruct.Pin = NRF24_CS_Pin|D1_Pin|D2_Pin|D3_Pin
                          |D4_Pin|D5_Pin|D6_Pin;
  GPIO_InitStruct.Mode = GPIO_MODE_OUTPUT_PP;
  GPIO_InitStruct.Pull = GPIO_NOPULL;
  GPIO_InitStruct.Speed = GPIO_SPEED_FREQ_LOW;
  HAL_GPIO_Init(GPIOB, &GPIO_InitStruct);

  /*Configure GPIO pins : OK_STATUS_Pin ERR_STATUS_Pin */
  GPIO_InitStruct.Pin = OK_STATUS_Pin|ERR_STATUS_Pin;
  GPIO_InitStruct.Mode = GPIO_MODE_OUTPUT_PP;
  GPIO_InitStruct.Pull = GPIO_NOPULL;
  GPIO_InitStruct.Speed = GPIO_SPEED_FREQ_LOW;
  HAL_GPIO_Init(GPIOD, &GPIO_InitStruct);

  /*Configure GPIO pins : PC8 PC9 PC10 PC11
                           PC12 */
  GPIO_InitStruct.Pin = GPIO_PIN_8|GPIO_PIN_9|GPIO_PIN_10|GPIO_PIN_11
                          |GPIO_PIN_12;
  GPIO_InitStruct.Mode = GPIO_MODE_AF_PP;
  GPIO_InitStruct.Pull = GPIO_NOPULL;
  GPIO_InitStruct.Speed = GPIO_SPEED_FREQ_VERY_HIGH;
  GPIO_InitStruct.Alternate = GPIO_AF12_SDMMC1;
  HAL_GPIO_Init(GPIOC, &GPIO_InitStruct);

  /*Configure GPIO pin : PD2 */
  GPIO_InitStruct.Pin = GPIO_PIN_2;
  GPIO_InitStruct.Mode = GPIO_MODE_AF_PP;
  GPIO_InitStruct.Pull = GPIO_NOPULL;
  GPIO_InitStruct.Speed = GPIO_SPEED_FREQ_VERY_HIGH;
  GPIO_InitStruct.Alternate = GPIO_AF12_SDMMC1;
  HAL_GPIO_Init(GPIOD, &GPIO_InitStruct);

  /*Configure GPIO pin : DS18B20_REFRI_Pin */
  GPIO_InitStruct.Pin = DS18B20_REFRI_Pin;
  GPIO_InitStruct.Mode = GPIO_MODE_INPUT;
  GPIO_InitStruct.Pull = GPIO_NOPULL;
  HAL_GPIO_Init(DS18B20_REFRI_GPIO_Port, &GPIO_InitStruct);

}

/* USER CODE BEGIN 4 */

/**
 * @brief  Request the bootloader to run on next reset and trigger a system reset.
 *         This function writes a magic value into a backup register so that
 *         the bootloader can detect the request at startup and stay in bootloader mode.
 */
void RequestBootloaderAndReset(void)
{
    /* Enable backup domain access using HAL.
       PWR clock was already enabled in SystemClock_Config()
       via HAL_PWREx_ConfigSupply(), so we do not call
       __HAL_RCC_PWR_CLK_ENABLE() here. */
    HAL_PWR_EnableBkUpAccess();

    /* Enable RTC clock to access backup registers if not already enabled */
    if ((RCC->BDCR & RCC_BDCR_RTCEN) == 0U)
    {
        __HAL_RCC_RTC_ENABLE();
    }

    /* Write magic value to backup register 0 */
    RTC->BKP0R = BOOT_REQ_MAGIC;

    /* Optional short delay to ensure the write is completed */
    for (volatile uint32_t i = 0; i < 10000U; i++)
    {
        __NOP();
    }

    /* Trigger a system reset */
    __disable_irq();
    NVIC_SystemReset();

    /* Should never reach this point */
    while (1) { }
}

/**
 * @brief  Send an ISO-TP SF app-control reply over CAN.
 *
 * Wire shape matches the fix/12 protocol: ID = 0x01<node>, payload
 * = [PCI_SF|len, msg_type, opcode, status].
 *
 * @param  opcode  App-control opcode being replied to (echoed back
 *                 so the host can correlate request and reply).
 * @param  status  0x00 = OK, non-zero = app-specific error code.
 */
static void APP_SendCtrlAck(uint8_t opcode, uint8_t status) {
	FDCAN_TxHeaderTypeDef txHeader;
	uint8_t txData[8] = { 0 };

	txHeader.Identifier          = APP_FRAME_ID_TX_REPLY;
	txHeader.IdType              = FDCAN_STANDARD_ID;
	txHeader.TxFrameType         = FDCAN_DATA_FRAME;
	txHeader.DataLength          = FDCAN_DLC_BYTES_4;
	txHeader.ErrorStateIndicator = FDCAN_ESI_ACTIVE;
	txHeader.BitRateSwitch       = FDCAN_BRS_OFF;
	txHeader.FDFormat            = FDCAN_CLASSIC_CAN;
	txHeader.TxEventFifoControl  = FDCAN_NO_TX_EVENTS;
	txHeader.MessageMarker       = 0;

	txData[0] = 0x03U;               /* PCI SF, len = 3 bytes to follow */
	txData[1] = APP_MSG_APP_CTRL;    /* msg_type */
	txData[2] = opcode;              /* echoed opcode */
	txData[3] = status;              /* 0x00 = OK */

	(void) HAL_FDCAN_AddMessageToTxFifoQ(&hfdcan2, &txHeader, txData);
}

/**
 * @brief  Handle one received CAN frame in the application.
 *
 * The FDCAN hardware filter already dropped anything not addressed
 * to us or the broadcast, so we just need to decode the ISO-TP SF
 * wrapper and route by message type. Multi-frame app commands are
 * not supported today; if the need ever arises, hoist the PCI
 * decoder into a proper ISO-TP reassembler (see `bl_isotp.c` in the
 * bootloader for the reference implementation).
 *
 * @param  rxHeader Pointer to the received FDCAN header.
 * @param  rxData   Pointer to the received data buffer (8 bytes max).
 */
static void APP_HandleCanFrame(FDCAN_RxHeaderTypeDef *rxHeader, uint8_t *rxData) {
	if (rxHeader->IdType != FDCAN_STANDARD_ID) {
		return;
	}

	/* ISO-TP single-frame only: PCI high nibble must be 0 (SF), and
	 * the low nibble (total payload length following PCI) must be
	 * at least 2 — one byte for msg_type, one for opcode. */
	uint8_t pci = rxData[0];
	if ((pci & 0xF0U) != 0x00U) {
		return;  /* FF / CF / FC — not supported at app layer today */
	}
	uint8_t len = pci & 0x0FU;
	if (len < 2U) {
		return;  /* truncated; no msg_type + opcode */
	}

	uint8_t msg_type = rxData[1];
	if (msg_type != APP_MSG_APP_CTRL) {
		/* Every other msg_type belongs to the bootloader protocol
		 * (CMD / ACK / NACK / NOTIFY / DISCOVER_RQ / DISCOVER_RP).
		 * The real BL is dark while we're running, so these frames
		 * just flow past us harmlessly — drop silently. */
		return;
	}

	uint8_t opcode = rxData[2];

	switch (opcode) {
	case APP_CMD_ENTER_BOOTLOADER:
		/* ACK first, then hand off to the reset path. The host
		 * knows to close out the transaction once it sees the
		 * reply on 0x01N. */
		APP_SendCtrlAck(APP_CMD_ENTER_BOOTLOADER, 0x00);
		HAL_Delay(10);  /* let the TX drain before we tear down */
		RequestBootloaderAndReset();
		break;

	default:
		/* Unknown app-ctrl opcode — could NACK, but silent drop
		 * keeps bench experiments from getting noisy. */
		break;
	}
}

/* USER CODE END 4 */

void Error_Handler(void)
{
	__disable_irq();
	while (1) {
	}
}
